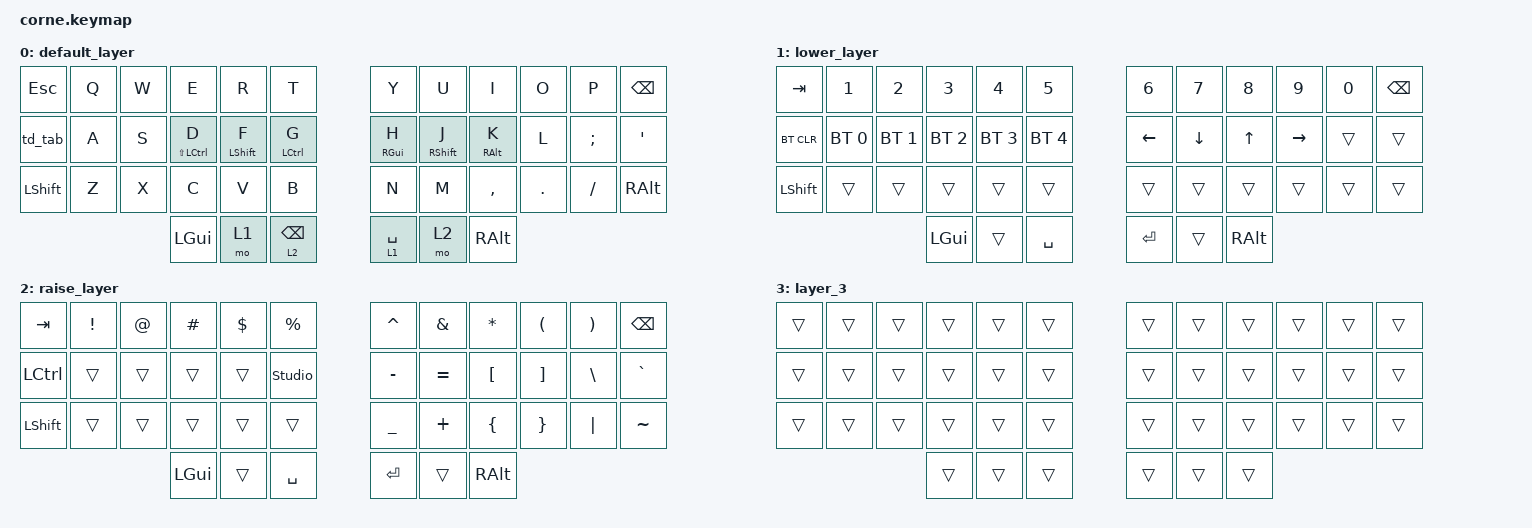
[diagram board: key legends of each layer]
/*
 * Copyright (c) 2020 The ZMK Contributors
 *
 * SPDX-License-Identifier: MIT
 */

#include <behaviors.dtsi>
#include <dt-bindings/zmk/bt.h>
#include <dt-bindings/zmk/keys.h>

/ {
    behaviors {
        hm: hm {
            compatible = "zmk,behavior-hold-tap";
            label = "HM";
            bindings = <&kp>, <&kp>;

            #binding-cells = <2>;
            tapping-term-ms = <200>;
        };

        td_tab: td_tab {
            compatible = "zmk,behavior-tap-dance";
            label = "TD_TAB";
            #binding-cells = <0>;
            bindings = <&kp TAB>, <&kp CAPS>;
        };
    };

    keymap {
        compatible = "zmk,keymap";

        default_layer {
            // -----------------------------------------------------------------------------------------
            // |  TAB |  Q  |  W  |  E  |  R  |  T  |   |  Y  |  U   |  I  |  O  |  P  | BSPC |
            // | CTRL |  A  |  S  |  D  |  F  |  G  |   |  H  |  J   |  K  |  L  |  ;  |  '   |
            // | SHFT |  Z  |  X  |  C  |  V  |  B  |   |  N  |  M   |  ,  |  .  |  /  | ESC  |
            //                    | GUI | LWR | SPC |   | ENT | RSE  | ALT |

            bindings = <
&kp ESCAPE  &kp Q  &kp W  &kp E            &kp R        &kp T              &kp Y            &kp U              &kp I            &kp O    &kp P     &kp BSPC
&td_tab     &kp A  &kp S  &hm LS(LCTRL) D  &hm LSHFT F  &hm LCTRL G        &hm RIGHT_GUI H  &hm RIGHT_SHIFT J  &hm RIGHT_ALT K  &kp L    &kp SEMI  &kp SQT
&kp LSHFT   &kp Z  &kp X  &kp C            &kp V        &kp B              &kp N            &kp M              &kp COMMA        &kp DOT  &kp FSLH  &kp RIGHT_ALT
                          &kp LGUI         &mo 1        &lt 2 BACKSPACE    &lt 1 SPACE      &mo 2              &kp RALT
            >;
        };

        lower_layer {
            // -----------------------------------------------------------------------------------------
            // |  TAB |  1  |  2  |  3  |  4  |  5  |   |  6  |  7  |  8  |  9  |  0  | BSPC |
            // | BTCLR| BT1 | BT2 | BT3 | BT4 | BT5 |   | LFT | DWN |  UP | RGT |     |      |
            // | SHFT |     |     |     |     |     |   |     |     |     |     |     |      |
            //                    | GUI |     | SPC |   | ENT |     | ALT |

            bindings = <
&kp TAB     &kp N1        &kp N2        &kp N3        &kp N4        &kp N5          &kp N6    &kp N7    &kp N8    &kp N9     &kp N0  &kp BSPC
&bt BT_CLR  &bt BT_SEL 0  &bt BT_SEL 1  &bt BT_SEL 2  &bt BT_SEL 3  &bt BT_SEL 4    &kp LEFT  &kp DOWN  &kp UP    &kp RIGHT  &trans  &trans
&kp LSHFT   &trans        &trans        &trans        &trans        &trans          &trans    &trans    &trans    &trans     &trans  &trans
                                        &kp LGUI      &trans        &kp SPACE       &kp RET   &trans    &kp RALT
            >;
        };

        raise_layer {
            // -----------------------------------------------------------------------------------------
            // |  TAB |  !  |  @  |  #  |  $  |  %  |   |  ^  |  &  |  *  |  (  |  )  | BSPC |
            // | CTRL |     |     |     |     |     |   |  -  |  =  |  [  |  ]  |  \  |  `   |
            // | SHFT |     |     |     |     |     |   |  _  |  +  |  {  |  }  | "|" |  ~   |
            //                    | GUI |     | SPC |   | ENT |     | ALT |

            bindings = <
&kp TAB    &kp EXCL  &kp AT  &kp HASH  &kp DLLR  &kp PRCNT         &kp CARET  &kp AMPS   &kp ASTRK  &kp LPAR  &kp RPAR  &kp BSPC
&kp LCTRL  &trans    &trans  &trans    &trans    &studio_unlock    &kp MINUS  &kp EQUAL  &kp LBKT   &kp RBKT  &kp BSLH  &kp GRAVE
&kp LSHFT  &trans    &trans  &trans    &trans    &trans            &kp UNDER  &kp PLUS   &kp LBRC   &kp RBRC  &kp PIPE  &kp TILDE
                             &kp LGUI  &trans    &kp SPACE         &kp RET    &trans     &kp RALT
            >;
        };

        layer_3 {
            bindings = <
&trans  &trans  &trans  &trans  &trans  &trans    &trans  &trans  &trans  &trans  &trans  &trans
&trans  &trans  &trans  &trans  &trans  &trans    &trans  &trans  &trans  &trans  &trans  &trans
&trans  &trans  &trans  &trans  &trans  &trans    &trans  &trans  &trans  &trans  &trans  &trans
                        &trans  &trans  &trans    &trans  &trans  &trans
            >;
        };
    };
};
